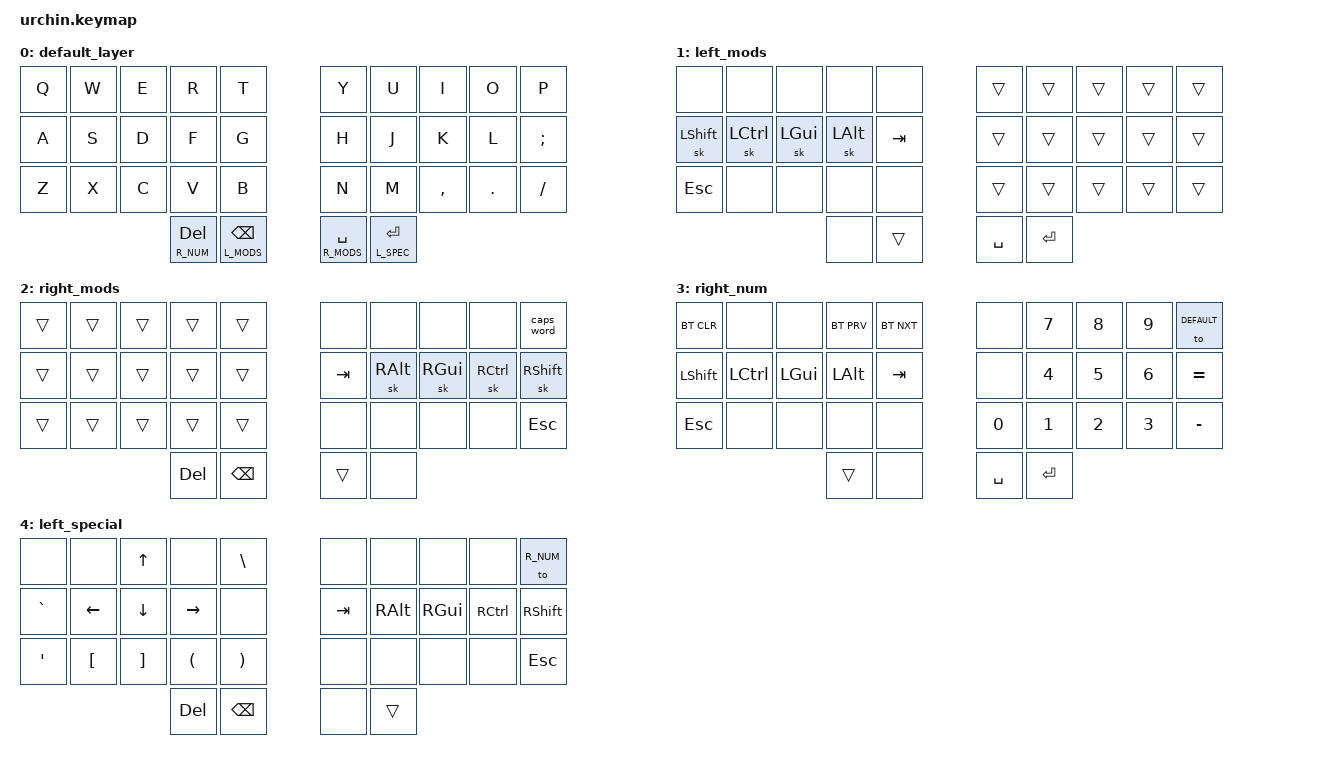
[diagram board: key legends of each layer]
// Copyright (c) 2022 The ZMK Contributors
// SPDX-License-Identifier: MIT

#include <behaviors.dtsi>
#include <dt-bindings/zmk/keys.h>
#include <dt-bindings/zmk/bt.h>

#define DEFAULT 0
#define L_MODS 1
#define R_MODS 2
#define R_NUM 3
#define L_SPEC 4

/ {
    behaviors {
        ht: hold_tap {
            label = "hold_tap";
            compatible = "zmk,behavior-hold-tap";
            #binding-cells = <2>;
            flavor = "tap-preferred";
            tapping-term-ms = <150>;
            quick-tap-ms = <100>;
            global-quick-tap;
            bindings = <&kp>, <&kp>;
        };
    };

    keymap {
        compatible = "zmk,keymap";
        default_layer { // 0
            bindings = <
        //╭──────────┬──────────┬──────────┬──────────┬──────────╮   ╭──────────┬──────────┬──────────┬──────────┬──────────╮
        //│  Q       │  W       │  E       │  R       │  T       │   │  Y       │  U       │  I       │  O       │  P       │
            &kp Q      &kp W      &kp E      &kp R      &kp T          &kp Y      &kp U      &kp I      &kp O      &kp P
        //├──────────┼──────────┼──────────┼──────────┼──────────┤   ├──────────┼──────────┼──────────┼──────────┼──────────┤
        //│  A       │  S       │  D       │  F       │  G       │   │  H       │  J       │  K       │  L       │ ' "      │
            &kp A       &kp S      &kp D      &kp F      &kp G          &kp H      &kp J      &kp K      &kp L     &kp SEMI
        //├──────────┼──────────┼──────────┼──────────┼──────────┤   ├──────────┼──────────┼──────────┼──────────┼──────────┤
        //│  Z       │  X       │  C       │  V       │  B       │   │  N       │  M       │ , <      │ . >      │ / ?      │
            &kp Z      &kp X      &kp C      &kp V      &kp B          &kp N      &kp M      &kp COMMA  &kp DOT    &kp FSLH
        //╰──────────┴──────────┴──┬───────┴─────┬────┴──────────┤   ├──────────┴─────┬────┴──────────┴┬─────────┴──────────╯
                                    &lt R_NUM DEL &lt L_MODS BSPC     &lt R_MODS SPACE &lt L_SPEC ENTER
        //                         ╰─────────────┴───────────────╯   ╰────────────────┴────────────────╯
            >;
        };

        left_mods { // 1
            bindings = <
        //╭──────────┬──────────┬──────────┬──────────┬──────────╮   ╭──────────┬──────────┬──────────┬──────────┬──────────╮
        //│ XXXXXX   │  XXXXXX  │  XXXXXX  │  XXXXXX  │ XXXXXX   │   │          │          │          │          │          │
            &none       &none      &none      &none     &none          &trans     &trans     &trans     &trans     &trans
        //├──────────┼──────────┼──────────┼──────────┼──────────┤   ├──────────┼──────────┼──────────┼──────────┼──────────┤
        //│ Shift    │  Control │  GUI     │  Alt     │ Tab      │   │          │          │          │          │          │
            &sk LSHIFT  &sk LCTRL  &sk LGUI   &sk LALT  &kp TAB        &trans     &trans     &trans     &trans     &trans
        //├──────────┼──────────┼──────────┼──────────┼──────────┤   ├──────────┼──────────┼──────────┼──────────┼──────────┤
        //│ Escape   │  XXXXXX  │  XXXXXX  │  XXXXXX  │ XXXXXX   │   │          │          │          │          │          │
            &kp ESC     &none      &none      &none     &none          &trans     &trans     &trans     &trans     &trans
        //╰──────────┴──────────┴──────────┼──────────┼──────────┤   ├──────────┼──────────┼──────────┴──────────┴──────────╯
                                            &none      &trans         &kp SPACE  &kp ENTER
        //                                 ╰──────────┴──────────╯   ╰──────────┴──────────╯
            >;
        };

        right_mods { // 2
            bindings = <
        //╭──────────┬──────────┬──────────┬──────────┬──────────╮   ╭──────────┬──────────┬──────────┬──────────┬──────────╮
        //│          │          │          │          │          │   │ XXXXXX   |  XXXXXX  │  XXXXXX  │ XXXXXX   │ Caps Word│
            &trans     &trans     &trans     &trans     &trans         &none       &none      &none     &none      &caps_word
        //├──────────┼──────────┼──────────┼──────────┼──────────┤   ├──────────┼──────────┼──────────┼──────────┼──────────┤
        //│          │          │          │          │          │   │ Tab      │  Alt     │  GUI     │ Control  │ Shift    │
            &trans     &trans     &trans     &trans     &trans         &kp TAB    &sk RALT   &sk RGUI   &sk RCTRL &sk RSHIFT
        //├──────────┼──────────┼──────────┼──────────┼──────────┤   ├──────────┼──────────┼──────────┼──────────┼──────────┤
        //│          │          │          │          │          │   │  XXXXXX  │  XXXXXX  │  XXXXXX  │ XXXXXX   │ Escape   │
            &trans     &trans     &trans     &trans     &trans          &none      &none      &none     &none      &kp ESC
        //╰──────────┴──────────┴──────────┼──────────┼──────────┤   ├──────────┼──────────┼──────────┴──────────┴──────────╯
                                             &kp DEL    &kp BSPC         &trans     &none
        //                                 ╰──────────┴──────────╯   ╰──────────┴──────────╯
            >;
        };

        right_num { // 3
            bindings = <
        //╭──────────┬──────────┬──────────┬──────────┬──────────╮   ╭──────────┬──────────┬──────────┬──────────┬──────────╮
        //│ XXXXXX   │  XXXXXX  │  XXXXXX  │  XXXXXX  │ XXXXXX   │   │ XXXXXX   │ 7        │ 8        │ 9        │ Default  │
            &bt BT_CLR  &none      &none    &bt BT_PRV &bt BT_NXT      &none      &kp N7     &kp N8     &kp N9   &to DEFAULT
        //├──────────┼──────────┼──────────┼──────────┼──────────┤   ├──────────┼──────────┼──────────┼──────────┼──────────┤
        //│ Shift    │  Control │  GUI     │  Alt     │ Tab      │   │ XXXXXX   │ 4        │ 5        │ 6        │ Equals   │
           &kp LSHIFT  &kp LCTRL  &kp LGUI   &kp LALT   &kp TAB        &none      &kp N4     &kp N5     &kp N6     &kp EQUAL
        //├──────────┼──────────┼──────────┼──────────┼──────────┤   ├──────────┼──────────┼──────────┼──────────┼──────────┤
        //│ Escape   │  XXXXXX  │  XXXXXX  │  XXXXXX  │ XXXXXX   │   │ 0        │ 1        │ 2        │ 3        │ Minus    │
            &kp ESC     &none      &none      &none     &none          &kp N0     &kp N1     &kp N2     &kp N3     &kp MINUS
        //╰──────────┴──────────┴──────────┼──────────┼──────────┤   ├──────────┼──────────┼──────────┴──────────┴──────────╯
                                             &trans     &none         &kp SPACE  &kp ENTER
        //                                 ╰──────────┴──────────╯   ╰──────────┴──────────╯
            >;
        };

        left_special { // 4
            bindings = <
        //╭──────────┬──────────┬──────────┬──────────┬──────────╮   ╭──────────┬──────────┬──────────┬──────────┬──────────╮
        //│ XXXXXX   │ XXXXXX   │  Up      │ XXXXXX   │ Backslsh │   │  XXXXXX  │  XXXXXX  │  XXXXXX  │ XXXXXX   │ to R_Num │
            &none      &none       &kp UP     &none      &kp BSLH        &none      &none      &none    &none      &to R_NUM
        //├──────────┼──────────┼──────────┼──────────┼──────────┤   ├──────────┼──────────┼──────────┼──────────┼──────────┤
        //│ Grave    │ Left     │ Down     │ Right    │ XXXXXX   │   │  Tab     │  Alt     │  GUI     │ Control  │ Shift    │
            &kp GRAVE  &kp LEFT   &kp DOWN   &kp RIGHT  &none           &kp TAB    &kp RALT  &kp RGUI  &kp RCTRL  &kp RSHIFT
        //├──────────┼──────────┼──────────┼──────────┼──────────┤   ├──────────┼──────────┼──────────┼──────────┼──────────┤
        //│ Quote    │ [        │ ]       │  (       │  )        │   │  XXXXXX  │  XXXXXX  │  XXXXXX  │ XXXXXX   │ Escape   │
            &kp SQT    &kp LBKT   &kp RBKT   &kp LPAR   &kp RPAR        &none      &none      &none     &none      &kp ESC
        //╰──────────┴──────────┴──────────┼──────────┼──────────┤   ├──────────┼──────────┼──────────┴──────────┴──────────╯
                                             &kp DEL    &kp BSPC         &none     &trans
        //                                 ╰──────────┴──────────╯   ╰──────────┴──────────╯
            >;
        };
    };
};
